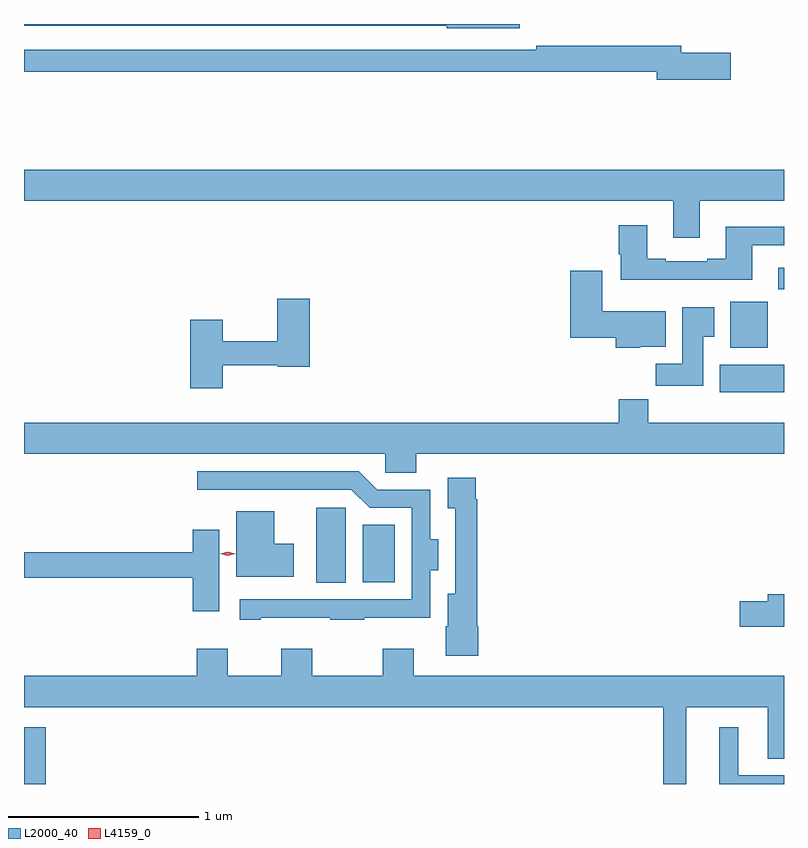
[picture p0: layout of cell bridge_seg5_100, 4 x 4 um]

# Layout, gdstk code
import gdstk
lib = gdstk.Library(unit=1e-6, precision=1e-09)
def R(c, l, rs):  # rectangles x0, y0, x1, y1
    for r in rs: c.add(gdstk.rectangle(r[:2], r[2:], *l))
def P(c, l, *ps):  # polygons
    for p in ps: c.add(gdstk.Polygon(p, *l))
L2000_40 = (2000, 40)
L4159_0 = (4159, 0)

bridge_seg5_100 = lib.new_cell('bridge_seg5_100')
R(bridge_seg5_100, L2000_40, [(543.188,841.703,543.302,842.002), (544.727,842.761,544.882,843.157), (544.97,842.765,545.14,843.067), (546.851,843.764,547.188,843.91), (546.905,843.998,547.102,844.24), (547.157,844.307,547.188,844.42)])
P(bridge_seg5_100, L2000_40, [(545.797,845.703),(543.188,845.703),(543.188,845.694),(545.412,845.694),(545.412,845.681),(545.797,845.681)],
  [(546.907,845.552),(546.646,845.552),(546.646,845.588),(545.884,845.588),(545.884,845.568),(543.188,845.568),(543.188,845.452),(546.518,845.452),(546.518,845.41),(546.907,845.41)],
  [(546.745,844.772),(547.188,844.772),(547.188,844.936),(543.188,844.936),(543.188,844.772),(546.605,844.772),(546.605,844.578),(546.745,844.578)],
  [(547.021,844.539),(547.188,844.539),(547.188,844.636),(546.881,844.636),(546.881,844.468),(546.785,844.468),(546.785,844.455),(546.565,844.455),(546.565,844.468),(546.469,844.468),(546.469,844.645),(546.317,844.645),(546.317,844.492),(546.329,844.492),(546.329,844.358),(547.021,844.358)],
  [(546.432,844.004),(546.565,844.004),(546.565,844.192),(546.232,844.192),(546.232,844.405),(546.062,844.405),(546.062,844.052),(546.302,844.052),(546.302,843.998),(546.432,843.998)],
  [(544.234,843.906),(544.524,843.906),(544.524,843.898),(544.691,843.898),(544.691,844.258),(544.52,844.258),(544.52,844.034),(544.234,844.034),(544.234,844.147),(544.064,844.147),(544.064,843.786),(544.234,843.786)],
  [(546.763,844.057),(546.82,844.057),(546.82,844.213),(546.653,844.213),(546.653,843.916),(546.514,843.916),(546.514,843.798),(546.763,843.798)],
  [(545.252,843.44),(547.188,843.44),(547.188,843.604),(546.473,843.604),(546.473,843.728),(546.317,843.728),(546.317,843.604),(543.188,843.604),(543.188,843.44),(545.088,843.44),(545.088,843.342),(545.252,843.342)],
  [(544.435,842.579),(544.801,842.579),(544.801,842.568),(544.979,842.568),(544.979,842.579),(545.325,842.579),(545.325,842.828),(545.368,842.828),(545.368,842.992),(545.326,842.992),(545.326,843.252),(545.046,843.252),(544.95,843.348),(544.101,843.348),(544.101,843.252),(544.911,843.252),(545.007,843.156),(545.229,843.156),(545.229,842.676),(544.323,842.676),(544.323,842.568),(544.435,842.568)],
  [(545.579,842.532),(545.573,842.532),(545.573,843.203),(545.566,843.203),(545.566,843.316),(545.417,843.316),(545.417,843.155),(545.457,843.155),(545.457,842.704),(545.417,842.704),(545.417,842.532),(545.408,842.532),(545.408,842.378),(545.579,842.378)],
  [(544.609,842.968),(544.504,842.968),(544.504,843.139),(544.304,843.139),(544.304,842.795),(544.609,842.795)],
  [(544.216,843.04),(544.076,843.04),(544.076,842.924),(543.188,842.924),(543.188,842.788),(544.076,842.788),(544.076,842.613),(544.216,842.613)],
  [(547.188,842.702),(547.103,842.702),(547.103,842.666),(546.954,842.666),(546.954,842.531),(547.188,842.531)],
  [(546.673,842.108),(547.103,842.108),(547.103,841.835),(547.188,841.835),(547.188,842.272),(545.239,842.272),(545.239,842.416),(545.075,842.416),(545.075,842.272),(544.705,842.272),(544.705,842.416),(544.541,842.416),(544.541,842.272),(544.261,842.272),(544.261,842.416),(544.097,842.416),(544.097,842.272),(543.188,842.272),(543.188,842.108),(546.552,842.108),(546.552,841.703),(546.673,841.703)],
  [(547.188,841.75),(546.946,841.75),(546.946,842.002),(546.848,842.002),(546.848,841.703),(547.188,841.703)])
P(bridge_seg5_100, L4159_0, [(544.26,842.905),(544.22,842.915),(544.22,842.915),(544.22,842.916),(544.26,842.925),(544.299,842.916),(544.299,842.915),(544.299,842.915)])

lib.write_gds('bridge_seg5_100.gds')
